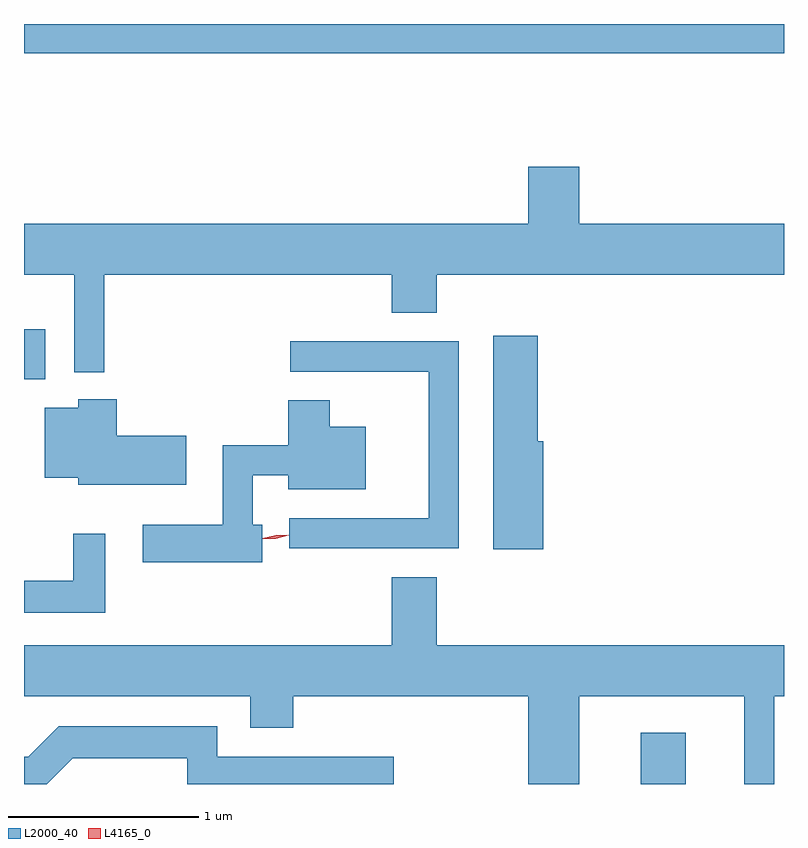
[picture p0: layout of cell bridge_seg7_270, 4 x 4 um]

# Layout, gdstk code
import gdstk
lib = gdstk.Library(unit=1e-6, precision=1e-09)
def R(c, l, rs):  # rectangles x0, y0, x1, y1
    for r in rs: c.add(gdstk.rectangle(r[:2], r[2:], *l))
def P(c, l, *ps):  # polygons
    for p in ps: c.add(gdstk.Polygon(p, *l))
L2000_40 = (2000, 40)
L4165_0 = (4165, 0)

bridge_seg7_270 = lib.new_cell('bridge_seg7_270')
R(bridge_seg7_270, L2000_40, [(1254.626,1762.695,1254.864,1762.964), (1251.381,1764.826,1251.494,1765.089), (1251.381,1766.541,1255.381,1766.695)])
P(bridge_seg7_270, L2000_40, [(1251.804,1765.376),(1253.316,1765.376),(1253.316,1765.176),(1253.554,1765.176),(1253.554,1765.376),(1255.381,1765.376),(1255.381,1765.644),(1254.304,1765.644),(1254.304,1765.944),(1254.036,1765.944),(1254.036,1765.644),(1251.381,1765.644),(1251.381,1765.376),(1251.646,1765.376),(1251.646,1764.863),(1251.804,1764.863)],
  [(1254.114,1764.499),(1254.084,1764.499),(1254.084,1765.054),(1253.851,1765.054),(1253.851,1763.931),(1254.114,1763.931)],
  [(1253.669,1765.024),(1252.783,1765.024),(1252.783,1764.866),(1253.511,1764.866),(1253.511,1764.094),(1252.778,1764.094),(1252.778,1763.936),(1253.669,1763.936)],
  [(1252.234,1764.529),(1251.869,1764.529),(1251.869,1764.719),(1251.666,1764.719),(1251.666,1764.674),(1251.491,1764.674),(1251.491,1764.306),(1251.666,1764.306),(1251.666,1764.271),(1252.234,1764.271)],
  [(1252.634,1764.059),(1252.584,1764.059),(1252.584,1764.321),(1252.771,1764.321),(1252.771,1764.246),(1253.179,1764.246),(1253.179,1764.574),(1252.989,1764.574),(1252.989,1764.714),(1252.771,1764.714),(1252.771,1764.479),(1252.426,1764.479),(1252.426,1764.059),(1252.006,1764.059),(1252.006,1763.861),(1252.634,1763.861)],
  [(1251.809,1764.013),(1251.641,1764.013),(1251.641,1763.764),(1251.381,1763.764),(1251.381,1763.596),(1251.809,1763.596)],
  [(1254.304,1763.156),(1255.171,1763.156),(1255.171,1762.695),(1255.329,1762.695),(1255.329,1763.156),(1255.381,1763.156),(1255.381,1763.424),(1253.554,1763.424),(1253.554,1763.784),(1253.316,1763.784),(1253.316,1763.424),(1251.381,1763.424),(1251.381,1763.156),(1252.571,1763.156),(1252.571,1762.991),(1252.799,1762.991),(1252.799,1763.156),(1254.036,1763.156),(1254.036,1762.695),(1254.304,1762.695)],
  [(1251.637,1762.831),(1252.241,1762.831),(1252.241,1762.695),(1253.328,1762.695),(1253.328,1762.839),(1252.399,1762.839),(1252.399,1762.999),(1251.564,1762.999),(1251.404,1762.839),(1251.381,1762.839),(1251.381,1762.695),(1251.501,1762.695)])
P(bridge_seg7_270, L4165_0, [(1252.707,1763.986),(1252.638,1763.987),(1252.637,1763.988),(1252.638,1763.988),(1252.705,1764.005),(1252.775,1764.004),(1252.775,1764.003),(1252.775,1764.003)],
  [(1252.707,1763.985),(1252.64,1763.986),(1252.639,1763.987),(1252.64,1763.987),(1252.705,1764.005),(1252.772,1764.004),(1252.772,1764.003),(1252.772,1764.003)])

lib.write_gds('bridge_seg7_270.gds')
